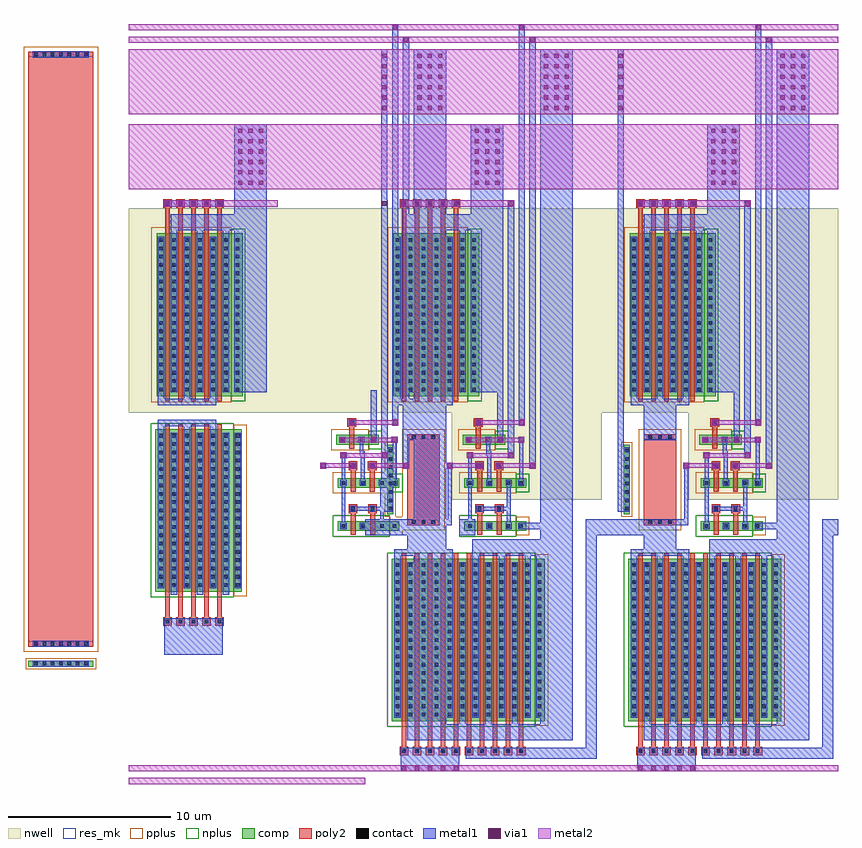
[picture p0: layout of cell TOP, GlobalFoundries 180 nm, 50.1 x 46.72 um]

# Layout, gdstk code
from math import pi, radians
import gdstk
lib = gdstk.Library(unit=1e-6, precision=1e-09)
def R(c, l, rs):  # rectangles x0, y0, x1, y1
    for r in rs: c.add(gdstk.rectangle(r[:2], r[2:], *l))
def A(c, l, x, y, w, h, nx, ny, dx, dy):  # array of equal rectangles
    R(c, l, [(x+i*dx, y+j*dy, x+i*dx+w, y+j*dy+h) for i in range(nx) for j in range(ny)])
def P(c, l, *ps):  # polygons
    for p in ps: c.add(gdstk.Polygon(p, *l))
nwell = (21, 0)
comp = (22, 0)
poly2 = (30, 0)
pplus = (31, 0)
nplus = (32, 0)
contact = (33, 0)
metal1 = (34, 0)
via1 = (35, 0)
metal2 = (36, 0)
res_mk = (110, 5)

ppolyf_s_resistor = lib.new_cell('ppolyf_s_resistor')
R(ppolyf_s_resistor, comp, [(-1.51,0,-1.15,4)])
R(ppolyf_s_resistor, poly2, [(-0.29,0,36.29,4)])
R(ppolyf_s_resistor, pplus, [(-0.59,-0.3,36.59,4.3), (-1.67,-0.16,-0.99,4.16)])
A(ppolyf_s_resistor, contact, -1.44, 0.36, 0.22, 0.22, 1, 7, 0, 0.51)
A(ppolyf_s_resistor, contact, -0.22, 0.36, 0.22, 0.22, 1, 7, 0, 0.51)
A(ppolyf_s_resistor, contact, 36, 0.36, 0.22, 0.22, 1, 7, 0, 0.51)
R(ppolyf_s_resistor, metal1, [(-1.52,0.28,-1.14,3.72), (-0.3,0.28,0.08,3.72), (35.92,0.28,36.3,3.72)])
R(ppolyf_s_resistor, res_mk, [(0,0,36,4)])

inputbuffer = lib.new_cell('InputBuffer')
R(inputbuffer, nwell, [(-6.28,8.29,8.26,20.87)])
R(inputbuffer, comp, [(-4.65,-2.71,0.65,7.29), (6.55,1.03,10.35,1.63), (6.55,3.68,10.35,4.28), (6.47,6.33,9.07,6.93), (-4.58,9.32,0.72,19.32)])
A(inputbuffer, poly2, -4.18, -4.81, 0.54, 0.54, 5, 2, 0.8, 25.69)
A(inputbuffer, poly2, -4.05, -4.27, 0.28, 11.87, 5, 2, 0.8, 13.28)
R(inputbuffer, poly2, [(7.35,0.78,7.65,2.12), (8.56,0.78,8.86,2.12), (7.22,2.12,7.76,2.66), (8.43,2.12,8.97,2.66), (7.35,3.43,7.65,4.77), (8.54,3.43,8.84,4.77), (7.22,4.77,7.76,5.31), (8.41,4.77,8.95,5.31), (7.27,6.08,7.57,7.42), (7.14,7.42,7.68,7.96)])
R(inputbuffer, pplus, [(0.16,-2.98,0.96,7.56), (9.75,0.76,10.55,1.9), (6.25,3.33,9.75,4.63), (6.17,5.98,8.47,7.28), (-4.9,8.94,0,19.69)])
R(inputbuffer, nplus, [(-4.95,-3.06,0.16,7.64), (6.25,0.68,9.75,1.98), (9.75,3.41,10.55,4.55), (8.47,6.06,9.27,7.2), (0,9.005,0.88,19.615)])
A(inputbuffer, contact, -4.02, -4.65, 0.22, 0.22, 5, 2, 0.8, 25.69)
A(inputbuffer, contact, -4.42, -2.41, 0.22, 0.22, 6, 19, 0.8, 0.51)
A(inputbuffer, contact, 0.3, -2.41, 0.22, 0.22, 1, 19, 0, 0.51)
A(inputbuffer, contact, -4.42, 9.62, 0.22, 0.22, 6, 19, 0.8, 0.51)
A(inputbuffer, contact, 0.28, 9.62, 0.22, 0.22, 1, 19, 0, 0.51)
R(inputbuffer, contact, [(6.8,1.22,7.02,1.44), (7.99,1.22,8.21,1.44), (9.17,1.22,9.39,1.44), (9.94,1.22,10.16,1.44), (7.38,2.28,7.6,2.5), (8.59,2.28,8.81,2.5), (6.8,3.87,7.02,4.09), (7.99,3.87,8.21,4.09), (9.17,3.87,9.39,4.09), (9.94,3.87,10.16,4.09), (7.38,4.93,7.6,5.15), (8.57,4.93,8.79,5.15), (6.72,6.52,6.94,6.74), (7.91,6.52,8.13,6.74), (8.66,6.52,8.88,6.74), (7.3,7.58,7.52,7.8)])
A(inputbuffer, metal1, -4.1, -4.73, 0.38, 0.38, 5, 2, 0.8, 25.69)
A(inputbuffer, metal1, -3.7, -2.89, 0.38, 0.4, 3, 2, 1.6, 21.99)
A(inputbuffer, metal1, -4.5, -2.49, 0.38, 9.56, 6, 2, 0.8, 12.03)
A(inputbuffer, metal1, 9.86, 1.14, 0.38, 0.38, 1, 3, 0, 2.65)
A(inputbuffer, metal1, -4.5, 7.07, 0.38, 0.4, 3, 2, 1.6, 2.07)
R(inputbuffer, metal1, [(11.22,-11.47,13.22,30.63), (-4.1,-6.57,-0.52,-4.35), (-4.1,-4.73,-0.52,-4.35), (0.22,-2.49,0.6,7.07), (14.02,0.76,15.02,1.76), (6.72,1.14,7.1,1.52), (7.91,1.14,8.29,1.52), (9.09,1.14,9.47,1.52), (9.86,1.14,13.22,1.52), (6.79,1.21,7.03,5.76), (9.16,1.21,9.4,4.1), (9.16,1.52,9.4,3.79), (7.3,2.2,7.68,2.58), (8.51,2.2,8.89,2.58), (7.37,2.27,9.4,2.51), (6.72,3.79,7.1,4.17), (7.91,3.79,8.29,4.17), (9.09,3.79,9.47,4.17), (7.98,3.85,8.22,5.93), (9.93,4.17,10.17,6.44), (5.47,4.84,5.85,5.22), (7.3,4.85,7.68,5.23), (8.49,4.85,8.87,5.23), (10.56,4.85,10.94,31.41), (6.72,5.48,7.1,5.86), (9.24,5.48,9.62,21.34), (7.9,5.69,8.14,6.75), (7.9,5.98,8.14,6.75), (6.64,6.44,7.02,6.82), (7.83,6.44,8.21,6.82), (8.58,6.44,8.96,6.82), (8.58,6.44,8.96,9.68), (-4.5,7.47,-0.92,7.85), (7.22,7.5,7.6,7.88), (9.9,7.5,10.28,32.19), (-4.5,8.76,-0.92,9.14), (0.2,9.54,2.2,26.03), (0.2,9.54,0.58,19.1), (-3.7,19.5,2.2,20.5), (-4.1,20.96,-0.52,21.34)])
P(inputbuffer, metal1, [(8.22,3.85),(8.22,3.85),(8.22,3.85),(8.22,3.85)])
A(inputbuffer, via1, -4.04, 21.02, 0.26, 0.26, 5, 1, 0.8, 0)
A(inputbuffer, via1, 0.43, 22.3, 0.26, 0.26, 3, 6, 0.64, 0.64)
A(inputbuffer, via1, 11.45, 26.9, 0.26, 0.26, 3, 6, 0.64, 0.64)
R(inputbuffer, via1, [(5.53,4.91,5.79,5.17), (7.36,4.91,7.62,5.17), (8.55,4.91,8.81,5.17), (10.62,4.91,10.88,5.17), (6.78,5.54,7.04,5.8), (9.3,5.54,9.56,5.8), (6.7,6.5,6.96,6.76), (8.64,6.5,8.9,6.76), (9.92,6.5,10.18,6.76), (7.28,7.56,7.54,7.82), (9.96,7.56,10.22,7.82), (9.3,21.02,9.56,21.28), (10.62,31.09,10.88,31.35), (9.96,31.87,10.22,32.13)])
R(inputbuffer, metal2, [(-6.28,-14.53,8.26,-14.15), (-6.28,-13.75,8.26,-13.37), (5.47,4.84,5.85,5.22), (7.3,4.85,7.68,5.23), (8.49,4.85,8.87,5.23), (10.56,4.85,10.94,5.23), (5.55,4.9,7.6,5.18), (8.54,4.9,10.89,5.18), (6.72,5.48,7.1,5.86), (9.24,5.48,9.62,5.86), (6.77,5.53,9.62,5.81), (6.64,6.44,7.02,6.82), (8.58,6.44,8.96,6.82), (9.86,6.44,10.24,6.82), (6.8,6.49,10.16,6.77), (7.22,7.5,7.6,7.88), (9.9,7.5,10.28,7.88), (7.35,7.55,10.23,7.83), (-4.1,20.96,2.86,21.34), (-6.28,22.03,8.26,26.03), (-6.28,26.63,8.26,30.63), (-6.28,31.03,8.26,31.41), (-6.28,31.81,8.26,32.19)])
r = gdstk.Reference(ppolyf_s_resistor, (-8.46,-5.8), rotation=pi/2); r.repetition = gdstk.Repetition(1, 1, v1=(0,0), v2=(0,0)); inputbuffer.add(r)

gainstage = lib.new_cell('GainStage')
R(gainstage, nwell, [(-0.98,2.93,8.26,8.29), (-6.28,8.29,8.26,20.87)])
R(gainstage, comp, [(-4.65,-10.67,4.75,-0.67), (-0.21,1.03,3.59,1.63), (-4.93,2.05,-4.57,6.32), (-0.21,3.68,3.59,4.28), (-0.29,6.33,2.31,6.93), (-4.58,9.32,0.72,19.32)])
A(gainstage, poly2, -4.18, -12.77, 0.54, 0.54, 10, 1, 0.8, 0)
A(gainstage, poly2, -4.05, -12.23, 0.28, 11.87, 10, 1, 0.8, 0)
A(gainstage, poly2, -4.05, 9.01, 0.28, 11.87, 5, 1, 0.8, 0)
A(gainstage, poly2, -4.18, 20.88, 0.54, 0.54, 5, 1, 0.8, 0)
R(gainstage, poly2, [(0.59,0.78,0.89,2.12), (1.8,0.78,2.1,2.12), (-3.71,1.38,-1.71,6.98), (0.46,2.12,1,2.66), (1.67,2.12,2.21,2.66), (0.59,3.43,0.89,4.77), (1.78,3.43,2.08,4.77), (0.46,4.77,1,5.31), (1.65,4.77,2.19,5.31), (0.51,6.08,0.81,7.42), (0.38,7.42,0.92,7.96)])
R(gainstage, pplus, [(4.16,-10.94,4.96,-0.4), (2.99,0.76,3.79,1.9), (-4.01,1.08,-1.41,7.28), (-5.09,1.89,-4.41,6.48), (-0.51,3.33,2.99,4.63), (-0.59,5.98,1.71,7.28), (-4.9,8.94,0,19.69)])
R(gainstage, nplus, [(-4.95,-11.02,4.16,-0.32), (-0.51,0.68,2.99,1.98), (2.99,3.41,3.79,4.55), (1.71,6.06,2.51,7.2), (0,9.005,0.88,19.615)])
A(gainstage, contact, -4.02, -12.61, 0.22, 0.22, 10, 1, 0.8, 0)
A(gainstage, contact, -4.42, -10.37, 0.22, 0.22, 11, 19, 0.8, 0.51)
A(gainstage, contact, 4.3, -10.37, 0.22, 0.22, 1, 19, 0, 0.51)
A(gainstage, contact, -4.86, 2.29, 0.22, 0.22, 1, 8, 0, 0.51)
A(gainstage, contact, -4.42, 9.62, 0.22, 0.22, 6, 19, 0.8, 0.51)
A(gainstage, contact, 0.28, 9.62, 0.22, 0.22, 1, 19, 0, 0.51)
A(gainstage, contact, -4.02, 21.04, 0.22, 0.22, 5, 1, 0.8, 0)
R(gainstage, contact, [(0.04,1.22,0.26,1.44), (1.23,1.22,1.45,1.44), (2.41,1.22,2.63,1.44), (3.18,1.22,3.4,1.44), (-3.42,1.46,-3.2,1.68), (-2.82,1.46,-2.6,1.68), (-2.82,1.46,-2.6,1.68), (-2.22,1.46,-2,1.68), (0.62,2.28,0.84,2.5), (1.83,2.28,2.05,2.5), (0.04,3.87,0.26,4.09), (1.23,3.87,1.45,4.09), (2.41,3.87,2.63,4.09), (3.18,3.87,3.4,4.09), (0.62,4.93,0.84,5.15), (1.81,4.93,2.03,5.15), (-0.04,6.52,0.18,6.74), (1.15,6.52,1.37,6.74), (1.9,6.52,2.12,6.74), (-3.42,6.68,-3.2,6.9), (-2.82,6.68,-2.6,6.9), (-2.82,6.68,-2.6,6.9), (-2.22,6.68,-2,6.9), (0.54,7.58,0.76,7.8)])
A(gainstage, metal1, -4.1, -12.69, 0.38, 0.38, 10, 1, 0.8, 0)
A(gainstage, metal1, -3.7, -10.85, 0.38, 0.4, 5, 1, 1.6, 0)
A(gainstage, metal1, -4.5, -10.45, 0.38, 9.56, 11, 1, 0.8, 0)
A(gainstage, metal1, -4.5, -0.89, 0.38, 0.4, 6, 1, 1.6, 0)
A(gainstage, metal1, 3.1, 1.14, 0.38, 0.38, 1, 3, 0, 2.65)
A(gainstage, metal1, -4.5, 9.14, 0.38, 0.4, 3, 1, 1.6, 0)
A(gainstage, metal1, -4.5, 9.54, 0.38, 9.56, 6, 1, 0.8, 0)
A(gainstage, metal1, -3.7, 19.1, 0.38, 0.4, 3, 1, 1.6, 0)
A(gainstage, metal1, -4.1, 20.96, 0.38, 0.38, 5, 1, 0.8, 0)
R(gainstage, metal1, [(-4.1,-13.75,-0.52,-12.31), (-0.1,-12.99,7.94,-12.31), (7.26,-12.99,7.94,1.76), (-4.1,-12.69,-0.52,-12.31), (-0.1,-12.69,3.48,-12.31), (-3.7,-11.85,6.46,-10.85), (4.46,-11.47,6.46,30.63), (4.22,-10.45,4.6,-0.89), (4.22,-0.89,4.6,-0.49), (-4.5,-0.49,-0.92,-0.11), (-3.71,-0.49,-1.71,1.76), (0.3,-0.49,6.46,0.51), (-6.28,0.76,-1.71,1.76), (7.26,0.76,8.26,1.76), (-0.04,1.14,0.34,1.52), (1.15,1.14,1.53,1.52), (2.33,1.14,2.71,1.52), (3.1,1.14,6.46,1.52), (0.03,1.21,0.27,5.76), (2.4,1.21,2.64,4.1), (-3.71,1.38,-0.98,1.76), (-1.22,1.38,-0.98,5.16), (2.4,1.52,2.64,3.79), (0.54,2.2,0.92,2.58), (1.75,2.2,2.13,2.58), (-5.32,2.21,-4.94,30.63), (-4.94,2.21,-4.56,6.16), (0.61,2.27,2.64,2.51), (-0.04,3.79,0.34,4.17), (1.15,3.79,1.53,4.17), (2.33,3.79,2.71,4.17), (1.22,3.85,1.46,5.93), (3.17,4.17,3.41,6.44), (-1.29,4.84,-0.91,5.22), (0.54,4.85,0.92,5.23), (1.73,4.85,2.11,5.23), (3.8,4.85,4.18,31.41), (-0.04,5.48,0.34,5.86), (2.48,5.48,2.86,21.34), (1.14,5.69,1.38,6.75), (1.14,5.98,1.38,6.75), (-0.12,6.44,0.26,6.82), (1.07,6.44,1.45,6.82), (1.82,6.44,2.2,9.68), (1.82,6.44,2.2,6.82), (-3.71,6.6,-1.71,9.14), (0.46,7.5,0.84,7.88), (3.14,7.5,3.52,32.19), (-4.5,8.76,-0.92,9.14), (0.2,9.54,2.2,26.03), (0.2,9.54,0.58,19.1), (-3.7,19.5,2.2,20.5), (-4.1,20.96,-0.52,21.34)])
P(gainstage, metal1, [(1.46,3.85),(1.46,3.85),(1.46,3.85),(1.46,3.85)])
A(gainstage, via1, -4.04, -13.69, 0.26, 0.26, 5, 2, 0.8, 34.71)
A(gainstage, via1, 0.43, 22.3, 0.26, 0.26, 3, 6, 0.64, 0.64)
A(gainstage, via1, -5.26, 26.9, 0.26, 0.26, 1, 6, 0, 0.64)
A(gainstage, via1, 4.69, 26.9, 0.26, 0.26, 3, 6, 0.64, 0.64)
R(gainstage, via1, [(-1.23,4.91,-0.97,5.17), (0.6,4.91,0.86,5.17), (1.79,4.91,2.05,5.17), (3.86,4.91,4.12,5.17), (0.02,5.54,0.28,5.8), (2.54,5.54,2.8,5.8), (-0.06,6.5,0.2,6.76), (1.88,6.5,2.14,6.76), (3.16,6.5,3.42,6.76), (0.52,7.56,0.78,7.82), (3.2,7.56,3.46,7.82), (2.54,21.02,2.8,21.28), (3.86,31.09,4.12,31.35), (3.2,31.87,3.46,32.13)])
R(gainstage, metal2, [(-6.28,-13.75,8.26,-13.37), (-1.29,4.84,-0.91,5.22), (0.54,4.85,0.92,5.23), (1.73,4.85,2.11,5.23), (3.8,4.85,4.18,5.23), (-1.21,4.9,0.84,5.18), (1.78,4.9,4.13,5.18), (-0.04,5.48,0.34,5.86), (2.48,5.48,2.86,5.86), (0.01,5.53,2.86,5.81), (-0.12,6.44,0.26,6.82), (1.82,6.44,2.2,6.82), (3.1,6.44,3.48,6.82), (0.04,6.49,3.4,6.77), (0.46,7.5,0.84,7.88), (3.14,7.5,3.52,7.88), (0.59,7.55,3.47,7.83), (-4.1,20.96,2.86,21.34), (-6.28,22.03,8.26,26.03), (-6.28,26.63,8.26,30.63), (-6.28,31.03,8.26,31.41), (-6.28,31.81,8.26,32.19)])
R(gainstage, res_mk, [(-3.71,1.68,-1.71,6.68), (-3.71,1.68,-1.71,6.68)])

top = lib.new_cell('TOP')
r = gdstk.Reference(inputbuffer, (-13.58,-0.06)); r.repetition = gdstk.Repetition(1, 1, v1=(0,0), v2=(0,0)); top.add(r)
r = gdstk.Reference(gainstage, (0.96,-0.06)); r.repetition = gdstk.Repetition(1, 1, v1=(0,0), v2=(0,0)); top.add(r)
r = gdstk.Reference(gainstage, (15.5,-0.06)); r.repetition = gdstk.Repetition(1, 1, v1=(0,0), v2=(0,0)); top.add(r)

lib.write_gds('TOP.gds')
